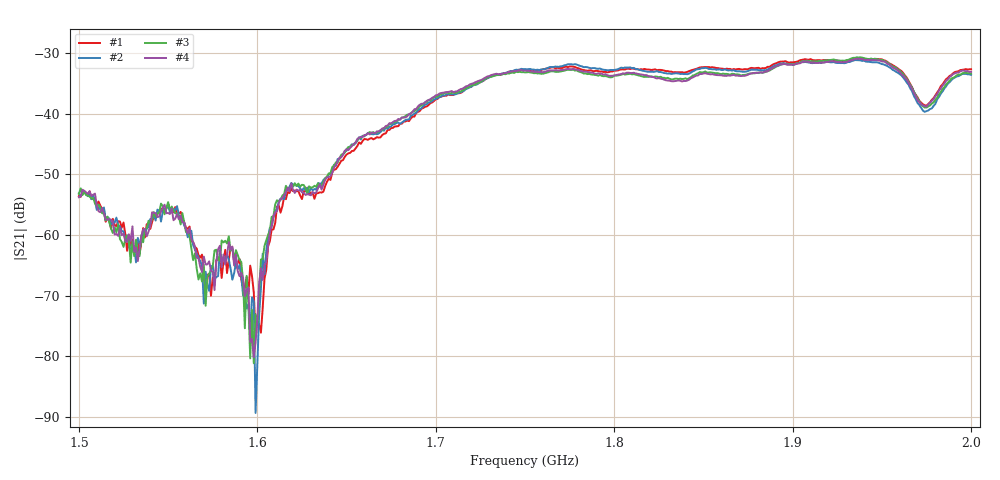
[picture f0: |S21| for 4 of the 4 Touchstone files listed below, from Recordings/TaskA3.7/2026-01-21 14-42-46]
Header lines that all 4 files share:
! NanoVNA-App by SYSJOINT et al v1.1.209 (+OD18)
! Start: 1,5GHz Stop: 2GHz Points: 501
! S-Parameter data: F S11 S21 S12 S22
# Hz S RI R 50
!  Frequency  S11_Real  S11_Imag  S21_Real  S21_Imag  S12_Real  S12_Imag  S22_Real  S22_Imag
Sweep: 1.5 GHz to 2 GHz
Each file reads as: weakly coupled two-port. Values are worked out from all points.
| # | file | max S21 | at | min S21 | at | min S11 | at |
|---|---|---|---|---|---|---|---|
| 1 | 0.s2p | -30.86 dB | 1.937 GHz | -76.4 dB | 1.599 GHz | -30.9 dB | 1.817 GHz |
| 2 | 1.s2p | -31.19 dB | 1.935 GHz | -89.3 dB | 1.599 GHz | -30.7 dB | 1.817 GHz |
| 3 | 2.s2p | -30.73 dB | 1.938 GHz | -81.1 dB | 1.598 GHz | -30.4 dB | 1.817 GHz |
| 4 | 3.s2p | -30.96 dB | 1.937 GHz | -80.1 dB | 1.598 GHz | -30.1 dB | 1.817 GHz |
